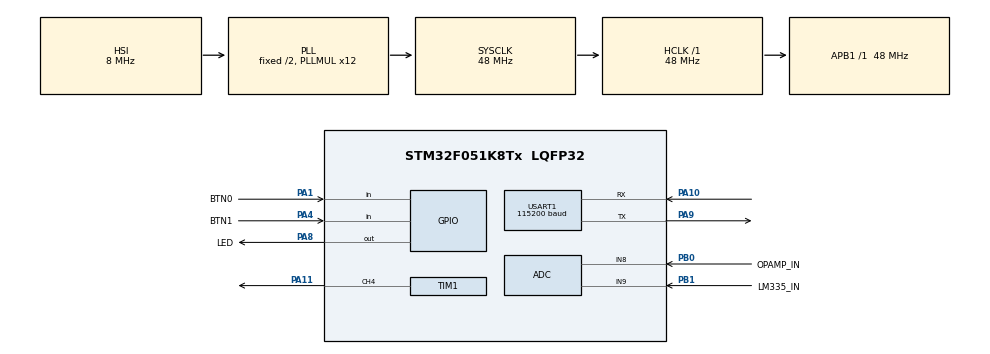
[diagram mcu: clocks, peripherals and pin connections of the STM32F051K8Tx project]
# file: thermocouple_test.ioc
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Mcu.Family=STM32F0
SH.S_TIM1_CH4.0=TIM1_CH4,PWM Generation4 CH4
TIM17.Prescaler=2399
VP_TIM17_VS_ClockSourceINT.Mode=Enable_Timer
PA10.Mode=Asynchronous
Dma.ADC.0.Mode=DMA_CIRCULAR
USART1.BaudRate=115200
Dma.ADC.0.Priority=DMA_PRIORITY_LOW
PB0.GPIO_Label=OPAMP_IN
RCC.SYSCLKSource=RCC_SYSCLKSOURCE_PLLCLK
ProjectManager.StackSize=0x400
Dma.ADC.0.PeriphDataAlignment=DMA_PDATAALIGN_HALFWORD
USART1.VirtualMode-Asynchronous=VM_ASYNC
PA13.Signal=SYS_SWDIO
PA9.Mode=Asynchronous
PA8.GPIO_Label=LED
TIM1.Prescaler=47999
ProjectManager.TargetToolchain=STM32CubeIDE
TIM1.Channel-PWM\ Generation4\ CH4=TIM_CHANNEL_4
Dma.ADC.0.PeriphInc=DMA_PINC_DISABLE
NVIC.TIM17_IRQn=true\:0\:0\:true\:true\:true\:3\:true\:true
RCC.HCLKFreq_Value=48000000
TIM3.Period=99
PA9.Signal=USART1_TX
PA1.GPIO_PuPd=GPIO_PULLUP
PA1.Signal=GPIO_Input
RCC.AHBFreq_Value=48000000
Dma.ADC.0.Direction=DMA_PERIPH_TO_MEMORY
ADC.SamplingTime=ADC_SAMPLETIME_239CYCLES_5
ADC.DMAContinuousRequests=ENABLE
PB0.Mode=IN8
PA4.GPIO_PuPd=GPIO_PULLUP
board=custom
RCC.PLLMUL=RCC_PLL_MUL12
TIM17.Period=100
PA14.Mode=Serial_Wire
TIM3.Prescaler=1919
PB1.GPIO_Label=LM335_IN
PA1.GPIO_Label=BTN0
PA8.Signal=GPIO_Output
ADC.EOCSelection=ADC_EOC_SINGLE_CONV
PA8.GPIO_ModeDefaultOutputPP=GPIO_MODE_OUTPUT_OD
PA13.Mode=Serial_Wire
Mcu.Name=STM32F051K8Tx
VP_TIM1_VS_ClockSourceINT.Mode=Internal
Dma.ADC.0.MemInc=DMA_MINC_ENABLE
PA4.Signal=GPIO_Input
RCC.SYSCLKFreq_VALUE=48000000
Mcu.Package=LQFP32
PB1.Signal=ADC_IN9
Dma.ADC.0.Instance=DMA1_Channel1
PA11.Signal=S_TIM1_CH4
PA10.Signal=USART1_RX
PA14.Signal=SYS_SWCLK
ProjectManager.HeapSize=0x200
PB1.Mode=IN9
Dma.ADC.0.MemDataAlignment=DMA_MDATAALIGN_HALFWORD
RCC.APB1TimFreq_Value=48000000
TIM1.Period=999
NVIC.DMA1_Channel1_IRQn=true\:0\:0\:true\:true\:true\:1\:false\:true
TIM3.TIM_MasterOutputTrigger=TIM_TRGO_UPDATE
Dma.Request0=ADC
RCC.APB1Freq_Value=48000000
PB0.Signal=ADC_IN8
PA4.GPIO_Label=BTN1
ADC.ExternalTrigConv=ADC_EXTERNALTRIGCONV_T3_TRGO
NVIC.ADC1_COMP_IRQn=true\:0\:0\:true\:true\:true\:2\:true\:true
VP_TIM3_VS_ClockSourceINT.Mode=Internal
PA8.PinState=GPIO_PIN_SET

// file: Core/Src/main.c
/* USER CODE BEGIN Header */
/*
 * main.c
 *
 * Thermocouple interface test circuit program
 *
 * The circuit utilizes a thermocouple with precision op-amp in differential
 * configuration and an LM335 temperature sensor for cold junction compensation,
 * each read on a channel of the MCU's built in ADC.
 *
 * Both ADC channels are sampled at fixed frequency and averaged.
 *
 * The circuit also provides a 1Hz PWM output with duty cycle
 * incemented/decremented with 2 pushbuttons.
 *
 */

/* USER CODE END Header */
#include "main.h"

/* USER CODE BEGIN Includes */
#include <stdio.h>
#include "thermometerAndDisplay.h"
#include "pushbutton.h"
/* USER CODE END Includes */

/* USER CODE BEGIN PTD */
typedef enum {
    BUF_FIRST_HALF = 0,
    BUF_SECOND_HALF
} BufferHalf_t;
/* USER CODE END PTD */

/* USER CODE BEGIN PD */
#define NUM_ANALOG_CHANNELS 2
#define ANALOG_AVERAGE_SIZE 250
#define ADC_BUF_LENGTH_PER_CHANNEL (ANALOG_AVERAGE_SIZE * 2)
#define ADC_BUF_LENGTH (ADC_BUF_LENGTH_PER_CHANNEL * NUM_ANALOG_CHANNELS)

#define BOTH_BUTTONS (BTN0_Pin | BTN1_Pin)

#define ADC_BUF_FIRST_HALF_FULL 0x1
#define ADC_BUF_SECOND_HALF_FULL 0x2

/* USER CODE END PD */

ADC_HandleTypeDef hadc;
DMA_HandleTypeDef hdma_adc;

TIM_HandleTypeDef htim1;
TIM_HandleTypeDef htim3;
TIM_HandleTypeDef htim17;

UART_HandleTypeDef huart1;

/* USER CODE BEGIN PV */
volatile uint16_t adc_buf[ADC_BUF_LENGTH] = {0};
PB_Set_t buttons;
volatile int adc_buf_fill_flags = 0;
/* USER CODE END PV */

void SystemClock_Config(void);
static void MX_GPIO_Init(void);
static void MX_DMA_Init(void);
static void MX_ADC_Init(void);
static void MX_TIM3_Init(void);
static void MX_USART1_UART_Init(void);
static void MX_TIM1_Init(void);
static void MX_TIM17_Init(void);
static void MX_NVIC_Init(void);
/* USER CODE BEGIN PFP */
void processReadings(BufferHalf_t half, float result[]);
void resetTerminal(void);
void setPwm(uint16_t pwm);
/* USER CODE END PFP */

int main(void)
{
  /* USER CODE BEGIN 1 */
  float adc_result[NUM_ANALOG_CHANNELS] = {0.0};
  uint32_t btn_status = 0;
  uint16_t pwm = 0;
  /* USER CODE END 1 */

  /* MCU Configuration--------------------------------------------------------*/

  /* Reset of all peripherals, Initializes the Flash interface and the Systick. */
  HAL_Init();

  /* Configure the system clock */
  SystemClock_Config();

  /* Initialize all configured peripherals */
  MX_GPIO_Init();
  MX_DMA_Init();
  MX_ADC_Init();
  MX_TIM3_Init();
  MX_USART1_UART_Init();
  MX_TIM1_Init();
  MX_TIM17_Init();

  /* Initialize interrupts */
  MX_NVIC_Init();
  /* USER CODE BEGIN 2 */

  // Button interface and debouncing
  PB_init(&buttons);
  HAL_TIM_Base_Start_IT(&htim17);

  // PWM generation
  setPwm(0);
  HAL_TIM_PWM_Start(&htim1, TIM_CHANNEL_4);

  // ADC sampling
  HAL_ADC_Start_DMA(&hadc, (uint32_t *) adc_buf, ADC_BUF_LENGTH);
  HAL_TIM_Base_Start(&htim3);

  // Serial output
  resetTerminal();
  printf("ADC started\r\n");
  /* USER CODE END 2 */

  /* Infinite loop */
  /* USER CODE BEGIN WHILE */
  while (1)
  {
    // Process ADC samples when buffer is ready
    if (adc_buf_fill_flags == ADC_BUF_FIRST_HALF_FULL)
    {
      processReadings(BUF_FIRST_HALF, adc_result);
      TC_calculateThermocoupleTemp(adc_result[0], adc_result[1]);

      printf("P=%04i\r\n", pwm);

      adc_buf_fill_flags = 0; // clear flag
    }
    else if (adc_buf_fill_flags == ADC_BUF_SECOND_HALF_FULL)
    {
      processReadings(BUF_SECOND_HALF, adc_result);
      TC_calculateThermocoupleTemp(adc_result[0], adc_result[1]);

      printf("P=%04i\r\n", pwm);
      adc_buf_fill_flags = 0; // clear flag
    }

    // Increment/decrement PWM duty cycle on button presses
    btn_status = PB_getButtonStatus(&buttons, BOTH_BUTTONS);
    if((btn_status & BTN0_Pin) && pwm < 1000)
    {
      pwm += 50;
      setPwm(pwm);
      HAL_GPIO_TogglePin(LED_GPIO_Port, LED_Pin);
    }
    else if((btn_status & BTN1_Pin) && pwm > 0)
    {
      pwm -= 50;
      setPwm(pwm);
      HAL_GPIO_TogglePin(LED_GPIO_Port, LED_Pin);
    }

    /* USER CODE END WHILE */

  }
}

void SystemClock_Config(void)
{
  RCC_OscInitTypeDef RCC_OscInitStruct = {0};
  RCC_ClkInitTypeDef RCC_ClkInitStruct = {0};
  RCC_PeriphCLKInitTypeDef PeriphClkInit = {0};

  /** Initializes the RCC Oscillators according to the specified parameters
  * in the RCC_OscInitTypeDef structure.
  */
  RCC_OscInitStruct.OscillatorType = RCC_OSCILLATORTYPE_HSI|RCC_OSCILLATORTYPE_HSI14;
  RCC_OscInitStruct.HSIState = RCC_HSI_ON;
  RCC_OscInitStruct.HSI14State = RCC_HSI14_ON;
  RCC_OscInitStruct.HSICalibrationValue = RCC_HSICALIBRATION_DEFAULT;
  RCC_OscInitStruct.HSI14CalibrationValue = 16;
  RCC_OscInitStruct.PLL.PLLState = RCC_PLL_ON;
  RCC_OscInitStruct.PLL.PLLSource = RCC_PLLSOURCE_HSI;
  RCC_OscInitStruct.PLL.PLLMUL = RCC_PLL_MUL12;
  RCC_OscInitStruct.PLL.PREDIV = RCC_PREDIV_DIV1;
  if (HAL_RCC_OscConfig(&RCC_OscInitStruct) != HAL_OK)
  {
    Error_Handler();
  }
  /** Initializes the CPU, AHB and APB buses clocks
  */
  RCC_ClkInitStruct.ClockType = RCC_CLOCKTYPE_HCLK|RCC_CLOCKTYPE_SYSCLK
                              |RCC_CLOCKTYPE_PCLK1;
  RCC_ClkInitStruct.SYSCLKSource = RCC_SYSCLKSOURCE_PLLCLK;
  RCC_ClkInitStruct.AHBCLKDivider = RCC_SYSCLK_DIV1;
  RCC_ClkInitStruct.APB1CLKDivider = RCC_HCLK_DIV1;

  if (HAL_RCC_ClockConfig(&RCC_ClkInitStruct, FLASH_LATENCY_1) != HAL_OK)
  {
    Error_Handler();
  }
  PeriphClkInit.PeriphClockSelection = RCC_PERIPHCLK_USART1;
  PeriphClkInit.Usart1ClockSelection = RCC_USART1CLKSOURCE_PCLK1;
  if (HAL_RCCEx_PeriphCLKConfig(&PeriphClkInit) != HAL_OK)
  {
    Error_Handler();
  }
}

/**
  * @brief NVIC Configuration.
  * @retval None
  */
static void MX_NVIC_Init(void)
{
  /* DMA1_Channel1_IRQn interrupt configuration */
  HAL_NVIC_SetPriority(DMA1_Channel1_IRQn, 0, 0);
  HAL_NVIC_EnableIRQ(DMA1_Channel1_IRQn);
  /* ADC1_COMP_IRQn interrupt configuration */
  HAL_NVIC_SetPriority(ADC1_COMP_IRQn, 0, 0);
  HAL_NVIC_EnableIRQ(ADC1_COMP_IRQn);
  /* TIM17_IRQn interrupt configuration */
  HAL_NVIC_SetPriority(TIM17_IRQn, 0, 0);
  HAL_NVIC_EnableIRQ(TIM17_IRQn);
}

static void MX_ADC_Init(void)
{

  ADC_ChannelConfTypeDef sConfig = {0};

  /** Configure the global features of the ADC (Clock, Resolution, Data Alignment and number of conversion)
  */
  hadc.Instance = ADC1;
  hadc.Init.ClockPrescaler = ADC_CLOCK_ASYNC_DIV1;
  hadc.Init.Resolution = ADC_RESOLUTION_12B;
  hadc.Init.DataAlign = ADC_DATAALIGN_RIGHT;
  hadc.Init.ScanConvMode = ADC_SCAN_DIRECTION_FORWARD;
  hadc.Init.EOCSelection = ADC_EOC_SINGLE_CONV;
  hadc.Init.LowPowerAutoWait = DISABLE;
  hadc.Init.LowPowerAutoPowerOff = DISABLE;
  hadc.Init.ContinuousConvMode = DISABLE;
  hadc.Init.DiscontinuousConvMode = DISABLE;
  hadc.Init.ExternalTrigConv = ADC_EXTERNALTRIGCONV_T3_TRGO;
  hadc.Init.ExternalTrigConvEdge = ADC_EXTERNALTRIGCONVEDGE_RISING;
  hadc.Init.DMAContinuousRequests = ENABLE;
  hadc.Init.Overrun = ADC_OVR_DATA_PRESERVED;
  if (HAL_ADC_Init(&hadc) != HAL_OK)
  {
    Error_Handler();
  }
  /** Configure for the selected ADC regular channel to be converted.
  */
  sConfig.Channel = ADC_CHANNEL_8;
  sConfig.Rank = ADC_RANK_CHANNEL_NUMBER;
  sConfig.SamplingTime = ADC_SAMPLETIME_239CYCLES_5;
  if (HAL_ADC_ConfigChannel(&hadc, &sConfig) != HAL_OK)
  {
    Error_Handler();
  }
  /** Configure for the selected ADC regular channel to be converted.
  */
  sConfig.Channel = ADC_CHANNEL_9;
  if (HAL_ADC_ConfigChannel(&hadc, &sConfig) != HAL_OK)
  {
    Error_Handler();
  }

}

static void MX_TIM1_Init(void)
{

  TIM_ClockConfigTypeDef sClockSourceConfig = {0};
  TIM_MasterConfigTypeDef sMasterConfig = {0};
  TIM_OC_InitTypeDef sConfigOC = {0};
  TIM_BreakDeadTimeConfigTypeDef sBreakDeadTimeConfig = {0};

  htim1.Instance = TIM1;
  htim1.Init.Prescaler = 47999;
  htim1.Init.CounterMode = TIM_COUNTERMODE_UP;
  htim1.Init.Period = 999;
  htim1.Init.ClockDivision = TIM_CLOCKDIVISION_DIV1;
  htim1.Init.RepetitionCounter = 0;
  htim1.Init.AutoReloadPreload = TIM_AUTORELOAD_PRELOAD_DISABLE;
  if (HAL_TIM_Base_Init(&htim1) != HAL_OK)
  {
    Error_Handler();
  }
  sClockSourceConfig.ClockSource = TIM_CLOCKSOURCE_INTERNAL;
  if (HAL_TIM_ConfigClockSource(&htim1, &sClockSourceConfig) != HAL_OK)
  {
    Error_Handler();
  }
  if (HAL_TIM_PWM_Init(&htim1) != HAL_OK)
  {
    Error_Handler();
  }
  sMasterConfig.MasterOutputTrigger = TIM_TRGO_RESET;
  sMasterConfig.MasterSlaveMode = TIM_MASTERSLAVEMODE_DISABLE;
  if (HAL_TIMEx_MasterConfigSynchronization(&htim1, &sMasterConfig) != HAL_OK)
  {
    Error_Handler();
  }
  sConfigOC.OCMode = TIM_OCMODE_PWM1;
  sConfigOC.Pulse = 0;
  sConfigOC.OCPolarity = TIM_OCPOLARITY_HIGH;
  sConfigOC.OCFastMode = TIM_OCFAST_DISABLE;
  sConfigOC.OCIdleState = TIM_OCIDLESTATE_RESET;
  sConfigOC.OCNIdleState = TIM_OCNIDLESTATE_RESET;
  if (HAL_TIM_PWM_ConfigChannel(&htim1, &sConfigOC, TIM_CHANNEL_4) != HAL_OK)
  {
    Error_Handler();
  }
  sBreakDeadTimeConfig.OffStateRunMode = TIM_OSSR_DISABLE;
  sBreakDeadTimeConfig.OffStateIDLEMode = TIM_OSSI_DISABLE;
  sBreakDeadTimeConfig.LockLevel = TIM_LOCKLEVEL_OFF;
  sBreakDeadTimeConfig.DeadTime = 0;
  sBreakDeadTimeConfig.BreakState = TIM_BREAK_DISABLE;
  sBreakDeadTimeConfig.BreakPolarity = TIM_BREAKPOLARITY_HIGH;
  sBreakDeadTimeConfig.AutomaticOutput = TIM_AUTOMATICOUTPUT_DISABLE;
  if (HAL_TIMEx_ConfigBreakDeadTime(&htim1, &sBreakDeadTimeConfig) != HAL_OK)
  {
    Error_Handler();
  }
  HAL_TIM_MspPostInit(&htim1);

}

static void MX_TIM3_Init(void)
{

  /* USER CODE BEGIN TIM3_Init 0 */
  // Halt timer 3 on debug pause
  __HAL_DBGMCU_FREEZE_TIM3();
  /* USER CODE END TIM3_Init 0 */

  TIM_ClockConfigTypeDef sClockSourceConfig = {0};
  TIM_MasterConfigTypeDef sMasterConfig = {0};

  htim3.Instance = TIM3;
  htim3.Init.Prescaler = 1919;
  htim3.Init.CounterMode = TIM_COUNTERMODE_UP;
  htim3.Init.Period = 99;
  htim3.Init.ClockDivision = TIM_CLOCKDIVISION_DIV1;
  htim3.Init.AutoReloadPreload = TIM_AUTORELOAD_PRELOAD_DISABLE;
  if (HAL_TIM_Base_Init(&htim3) != HAL_OK)
  {
    Error_Handler();
  }
  sClockSourceConfig.ClockSource = TIM_CLOCKSOURCE_INTERNAL;
  if (HAL_TIM_ConfigClockSource(&htim3, &sClockSourceConfig) != HAL_OK)
  {
    Error_Handler();
  }
  sMasterConfig.MasterOutputTrigger = TIM_TRGO_UPDATE;
  sMasterConfig.MasterSlaveMode = TIM_MASTERSLAVEMODE_DISABLE;
  if (HAL_TIMEx_MasterConfigSynchronization(&htim3, &sMasterConfig) != HAL_OK)
  {
    Error_Handler();
  }

}

static void MX_TIM17_Init(void)
{

  /* USER CODE BEGIN TIM17_Init 0 */
  // Halt timer on debug pause
  __HAL_DBGMCU_FREEZE_TIM17();
  /* USER CODE END TIM17_Init 0 */

  htim17.Instance = TIM17;
  htim17.Init.Prescaler = 2399;
  htim17.Init.CounterMode = TIM_COUNTERMODE_UP;
  htim17.Init.Period = 100;
  htim17.Init.ClockDivision = TIM_CLOCKDIVISION_DIV1;
  htim17.Init.RepetitionCounter = 0;
  htim17.Init.AutoReloadPreload = TIM_AUTORELOAD_PRELOAD_DISABLE;
  if (HAL_TIM_Base_Init(&htim17) != HAL_OK)
  {
    Error_Handler();
  }

}

static void MX_USART1_UART_Init(void)
{

  huart1.Instance = USART1;
  huart1.Init.BaudRate = 115200;
  huart1.Init.WordLength = UART_WORDLENGTH_8B;
  huart1.Init.StopBits = UART_STOPBITS_1;
  huart1.Init.Parity = UART_PARITY_NONE;
  huart1.Init.Mode = UART_MODE_TX_RX;
  huart1.Init.HwFlowCtl = UART_HWCONTROL_NONE;
  huart1.Init.OverSampling = UART_OVERSAMPLING_16;
  huart1.Init.OneBitSampling = UART_ONE_BIT_SAMPLE_DISABLE;
  huart1.AdvancedInit.AdvFeatureInit = UART_ADVFEATURE_NO_INIT;
  if (HAL_UART_Init(&huart1) != HAL_OK)
  {
    Error_Handler();
  }

}

static void MX_DMA_Init(void)
{

  /* DMA controller clock enable */
  __HAL_RCC_DMA1_CLK_ENABLE();

}

static void MX_GPIO_Init(void)
{
  GPIO_InitTypeDef GPIO_InitStruct = {0};

  /* GPIO Ports Clock Enable */
  __HAL_RCC_GPIOA_CLK_ENABLE();
  __HAL_RCC_GPIOB_CLK_ENABLE();

  /*Configure GPIO pin Output Level */
  HAL_GPIO_WritePin(LED_GPIO_Port, LED_Pin, GPIO_PIN_SET);

  /*Configure GPIO pins : BTN0_Pin BTN1_Pin */
  GPIO_InitStruct.Pin = BTN0_Pin|BTN1_Pin;
  GPIO_InitStruct.Mode = GPIO_MODE_INPUT;
  GPIO_InitStruct.Pull = GPIO_PULLUP;
  HAL_GPIO_Init(GPIOA, &GPIO_InitStruct);

  /*Configure GPIO pin : LED_Pin */
  GPIO_InitStruct.Pin = LED_Pin;
  GPIO_InitStruct.Mode = GPIO_MODE_OUTPUT_OD;
  GPIO_InitStruct.Pull = GPIO_NOPULL;
  GPIO_InitStruct.Speed = GPIO_SPEED_FREQ_LOW;
  HAL_GPIO_Init(LED_GPIO_Port, &GPIO_InitStruct);

}

/* USER CODE BEGIN 4 */

// Conversion half complete DMA interrupt callback
void HAL_ADC_ConvHalfCpltCallback(ADC_HandleTypeDef* hadc)
{
  if(adc_buf_fill_flags == 0)
  {
    adc_buf_fill_flags |= ADC_BUF_FIRST_HALF_FULL;
  }
  else
  {
    HAL_TIM_Base_Stop(&htim3);
    printf("ERROR: ADC buffer unprocessed upon buffer update\r\n");
    Error_Handler();
  }
}

// Conversion complete DMA interrupt callback
void HAL_ADC_ConvCpltCallback(ADC_HandleTypeDef* hadc)
{
  if(adc_buf_fill_flags == 0)
  {
    adc_buf_fill_flags |= ADC_BUF_SECOND_HALF_FULL;
  }
  else
  {
    HAL_TIM_Base_Stop(&htim3);
    printf("ERROR: ADC buffer unprocessed upon buffer update\r\n");
    Error_Handler();
  }
}

void HAL_ADC_ErrorCallback(ADC_HandleTypeDef* hadc)
{
  // stop timer triggering ADC
  HAL_TIM_Base_Stop(&htim3);

  printf("ERROR: ADC error callback invoked\r\n");

  Error_Handler();
}

void processReadings(BufferHalf_t half, float result[])
{
  uint32_t sum[NUM_ANALOG_CHANNELS] = {0};
  unsigned int sample_num;
  unsigned int limit;

  if(half == BUF_FIRST_HALF)
  {
    sample_num = 0; // start at beginning of buffer
    limit = ADC_BUF_LENGTH_PER_CHANNEL >> 1; // divide by 2 - stop at halfway point in buffer
  }
  else // second half
  {
    sample_num = ADC_BUF_LENGTH_PER_CHANNEL >> 1; // divide by 2 - start at halfway point in buffer
    limit = ADC_BUF_LENGTH_PER_CHANNEL; // stop at end of buffer
  }

  // Average the samples...

  // Take sums for each channel
  for(; sample_num < limit; sample_num++)
  {
    for(int channel = 0; channel < NUM_ANALOG_CHANNELS; channel++)
    {
      sum[channel] += adc_buf[NUM_ANALOG_CHANNELS * sample_num + channel];
    }
  }

  // Divide by number of samples
  for(int channel = 0; channel < NUM_ANALOG_CHANNELS; channel++)
  {
    result[channel] = ((float) sum[channel]) / (ADC_BUF_LENGTH_PER_CHANNEL >> 1);
  }

  return;
}

void HAL_TIM_PeriodElapsedCallback(TIM_HandleTypeDef *htim)
{
  if(htim->Instance == TIM17) {
    PB_update(&buttons, (~(BTN0_GPIO_Port->IDR)) & BOTH_BUTTONS);
  }
}

void setPwm(uint16_t pwm)
{
  __HAL_TIM_SET_COMPARE(&htim1, TIM_CHANNEL_4, pwm);
}

// Configure where printf() and putchar() output goes
int __io_putchar(int ch)
{
    // Un-comment either (or both) function call to route debugging output

    // Output on Serial Wire Output (SWO)
    //ITM_SendChar(ch);

    // Output on UART
    HAL_UART_Transmit(&huart1, (uint8_t *)&ch, 1, 0xFFFF);

    return (ch);
}

void resetTerminal()
{
    printf("\033[2J\033[H"); // clear screen and set cursor to home (0,0)
}

/* USER CODE END 4 */

void Error_Handler(void)
{
  /* USER CODE BEGIN Error_Handler_Debug */
  /* User can add his own implementation to report the HAL error return state */
  __disable_irq();

  // flash led to signal an error
  HAL_GPIO_WritePin(LED_GPIO_Port, LED_Pin, GPIO_PIN_RESET); // turn on LED
  while(1)
  {
    HAL_Delay(100);
    HAL_GPIO_WritePin(LED_GPIO_Port, LED_Pin, GPIO_PIN_SET); // turn off LED
    HAL_Delay(900);
    HAL_GPIO_WritePin(LED_GPIO_Port, LED_Pin, GPIO_PIN_RESET); // turn on LED
  }
  /* USER CODE END Error_Handler_Debug */
}

/************************ (C) COPYRIGHT STMicroelectronics *****END OF FILE****/
